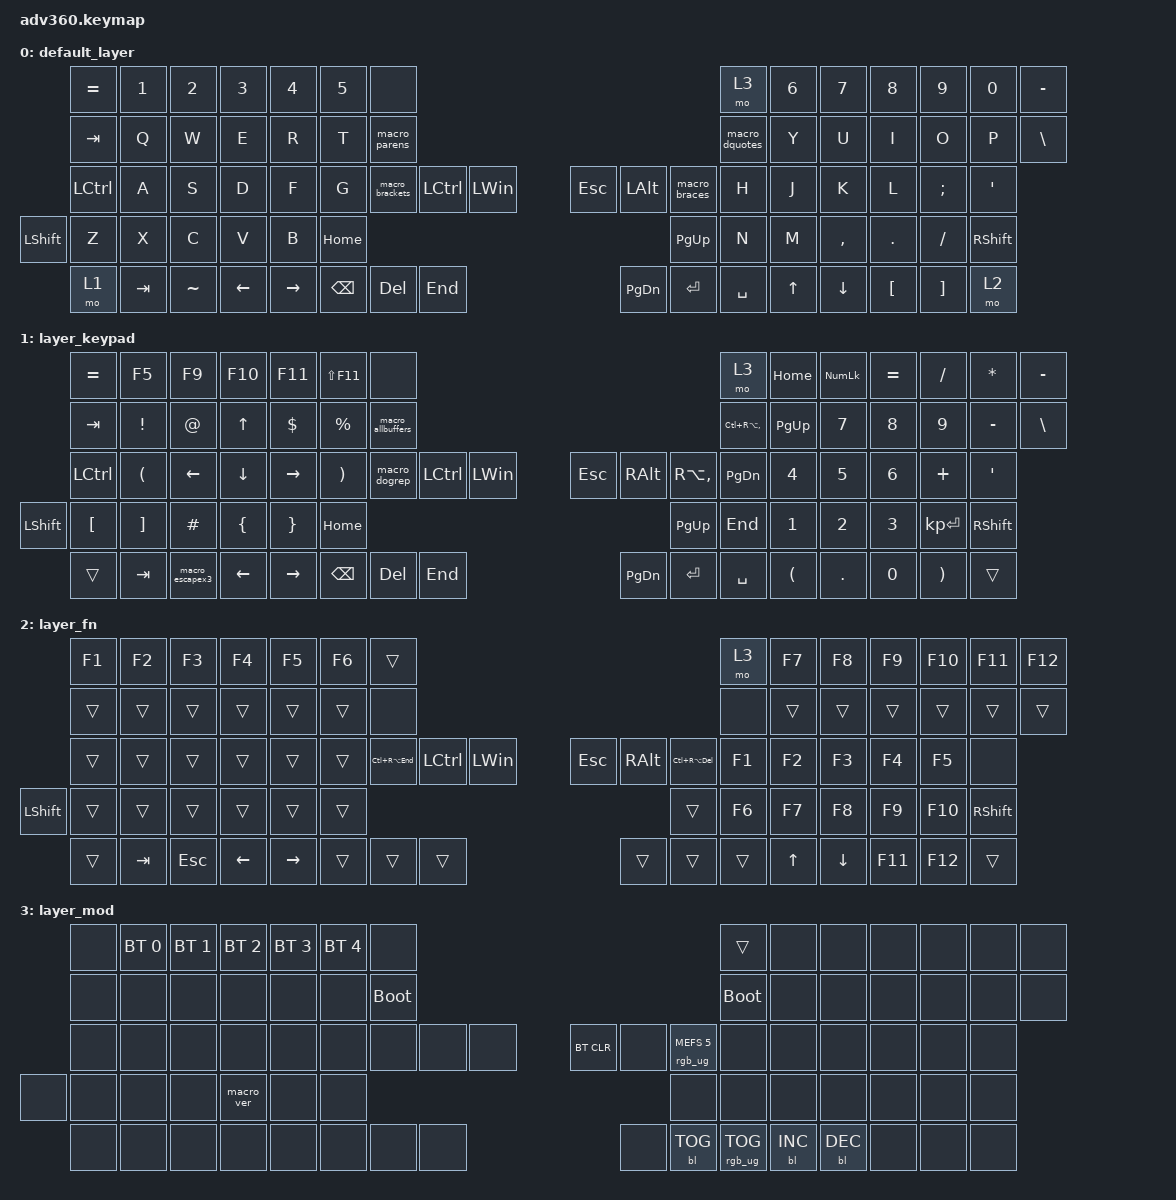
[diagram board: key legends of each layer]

/*
 * Copyright (c) 2020 The ZMK Contributors
 *
 * SPDX-License-Identifier: MIT
 */


/* THIS FILE WAS GENERATED!
 *
 * This file was generated automatically. You may or may not want to
 * edit it directly.
 */

#include <behaviors.dtsi>
#include <dt-bindings/zmk/keys.h>
#include <dt-bindings/zmk/bt.h>
#include <dt-bindings/zmk/rgb.h>
#include <dt-bindings/zmk/backlight.h>

/ {
  behaviors {
    #include "macros.dtsi"
    #include "version.dtsi"

    hm: homerow_mods {
        compatible = "zmk,behavior-hold-tap";
        label = "HOMEROW_MODS";
        #binding-cells = <2>;
        tapping-term-ms = <200>;
        quick_tap_ms = <175>;
        flavor = "tap-preferred";
        bindings = <&kp>, <&kp>;
    };
  };

    keymap {
        compatible = "zmk,keymap";


        default_layer {
            bindings = <
      &kp EQUAL  &kp NUMBER_1  &kp NUMBER_2  &kp NUMBER_3  &kp NUMBER_4  &kp NUMBER_5                      &none                                                                          &mo 3  &kp N6  &kp N7     &kp N8    &kp N9    &kp N0        &kp MINUS
        &kp TAB         &kp Q         &kp W         &kp E         &kp R         &kp T              &macro_parens                                                                 &macro_dquotes   &kp Y   &kp U      &kp I     &kp O     &kp P         &kp BSLH
      &kp LCTRL         &kp A         &kp S         &kp D         &kp F         &kp G            &macro_brackets  &kp LCTRL  &kp LEFT_WIN                    &kp ESC   &kp LALT   &macro_braces   &kp H   &kp J      &kp K     &kp L  &kp SEMI          &kp SQT
 &kp LEFT_SHIFT         &kp Z         &kp X         &kp C         &kp V         &kp B                                            &kp HOME                  &kp PG_UP                              &kp N   &kp M  &kp COMMA   &kp DOT  &kp FSLH  &kp RIGHT_SHIFT
          &mo 1       &kp TAB     &kp TILDE      &kp LEFT     &kp RIGHT                                 &kp BSPC    &kp DEL       &kp END                  &kp PG_DN  &kp ENTER       &kp SPACE          &kp UP   &kp DOWN  &kp LBKT  &kp RBKT            &mo 2
            >;
        };

        layer_keypad {
            bindings = <
      &kp EQUAL                &kp F5             &kp F9         &kp F10          &kp F11            &kp LS(F11)                        &none                                                                                  &mo 3       &kp HOME            &kp KP_NUM     &kp EQUAL     &kp SLASH           &kp ASTERISK        &kp MINUS
        &kp TAB              &kp EXCL             &kp AT    &kp UP_ARROW         &kp DLLR            &kp PERCENT            &macro_allbuffers                                                                      &kp LC(RA(COMMA))    &kp PAGE_UP          &kp NUMBER_7  &kp NUMBER_8  &kp NUMBER_9              &kp MINUS         &kp BSLH
      &kp LCTRL  &kp LEFT_PARENTHESIS     &kp LEFT_ARROW  &kp DOWN_ARROW  &kp RIGHT_ARROW  &kp RIGHT_PARENTHESIS                &macro_dogrep  &kp LCTRL  &kp LEFT_WIN                  &kp ESCAPE  &kp RIGHT_ALT      &kp RA(COMMA)  &kp PAGE_DOWN          &kp NUMBER_4  &kp NUMBER_5  &kp NUMBER_6               &kp PLUS          &kp SQT
 &kp LEFT_SHIFT      &kp LEFT_BRACKET  &kp RIGHT_BRACKET        &kp HASH   &kp LEFT_BRACE        &kp RIGHT_BRACE                                              &kp HOME                   &kp PG_UP                                          &kp END          &kp NUMBER_1  &kp NUMBER_2  &kp NUMBER_3           &kp KP_ENTER  &kp RIGHT_SHIFT
         &trans               &kp TAB    &macro_escapex3        &kp LEFT        &kp RIGHT                                            &kp BSPC    &kp DEL       &kp END                   &kp PG_DN      &kp ENTER          &kp SPACE                 &kp LEFT_PARENTHESIS       &kp DOT  &kp NUMBER_0  &kp RIGHT_PARENTHESIS           &trans
            >;
        };

        layer_fn {
            bindings = <
         &kp F1   &kp F2      &kp F3          &kp F4           &kp F5  &kp F6                     &trans                                                                             &mo 3  &kp F7        &kp F8          &kp F9  &kp F10  &kp F11          &kp F12
         &trans   &trans      &trans          &trans           &trans  &trans                      &none                                                                             &none  &trans        &trans          &trans   &trans   &trans           &trans
         &trans   &trans      &trans          &trans           &trans  &trans            &kp LC(RA(END))  &kp LCTRL  &kp LEFT_WIN                  &kp ESC  &kp RIGHT_ALT  &kp LC(RA(DEL))  &kp F1        &kp F2          &kp F3   &kp F4   &kp F5            &none
 &kp LEFT_SHIFT   &trans      &trans          &trans           &trans  &trans                                              &trans                   &trans                                  &kp F6        &kp F7          &kp F8   &kp F9  &kp F10  &kp RIGHT_SHIFT
         &trans  &kp TAB  &kp ESCAPE  &kp LEFT_ARROW  &kp RIGHT_ARROW                             &trans     &trans        &trans                   &trans         &trans           &trans          &kp UP_ARROW  &kp DOWN_ARROW  &kp F11  &kp F12           &trans
            >;
        };

        layer_mod {
            bindings = <
  &none  &bt BT_SEL 0  &bt BT_SEL 1  &bt BT_SEL 2  &bt BT_SEL 3  &bt BT_SEL 4                  &none                                                                          &trans   &none       &none       &none   &none   &none   &none
  &none         &none         &none         &none         &none         &none            &bootloader                                                                     &bootloader   &none       &none       &none   &none   &none   &none
  &none         &none         &none         &none         &none         &none                  &none   &none   &none                  &bt BT_CLR       &none  &rgb_ug RGB_MEFS_CMD 5   &none       &none       &none   &none   &none   &none
  &none         &none         &none         &none    &macro_ver         &none                                  &none                       &none                                       &none       &none       &none   &none   &none   &none
  &none         &none         &none         &none         &none                                &none   &none   &none                       &none  &bl BL_TOG         &rgb_ug RGB_TOG          &bl BL_INC  &bl BL_DEC   &none   &none   &none
            >;
        };

    };
};
